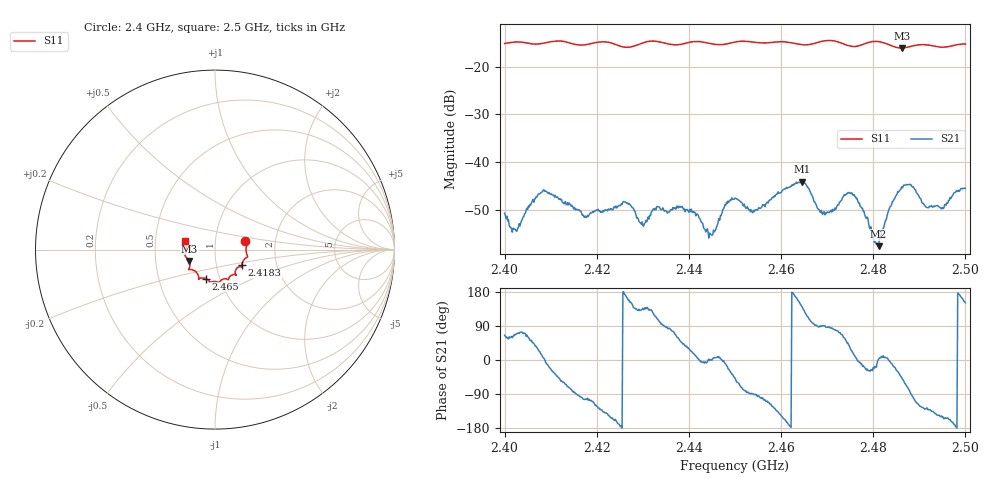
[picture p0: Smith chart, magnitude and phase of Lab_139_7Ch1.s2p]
# Hz S RI R 50
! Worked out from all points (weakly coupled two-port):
!   601 points, 2.4 GHz to 2.5 GHz, reference 50 ohm
!   highest |S21| = -44.06 dB at 2.4645 GHz (marker M1); lowest = -57.6 dB at 2.4812 GHz (marker M2)
!   lowest |S11| = -16.1 dB at 2.4862 GHz (marker M3), VSWR 1.37, Z = 37.2 - j4.83 ohm
!   |S11| at or under -10 dB: start of sweep to end of sweep
!   S12 and S22 are empty: the file has one direction only
!   S11 on the Smith chart (normalised r, x): 2.4 GHz: 1.40, +0.14; 2.4183 GHz: 1.33, -0.24; 2.465 GHz: 0.86, -0.28; 2.5 GHz: 0.71, +0.07
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2.4e9  0.1688 0.047  0.00122 0.00265  0 0  0 0
2.4025e9  0.1789 0.0354  0.000713 0.00176  0 0  0 0
2.408667e9  0.176 -0.0234  0.00496 0.000195  0 0  0 0
2.416667e9  0.1546 -0.0681  -0.000426 -0.00293  0 0  0 0
2.418333e9  0.1501 -0.0866  -0.000658 -0.00271  0 0  0 0
2.426167e9  0.1242 -0.1013  -0.00378 0.000522  0 0  0 0
2.43e9  0.1138 -0.1369  -0.00156 0.00149  0 0  0 0
2.433333e9  0.1174 -0.1409  -0.000941 0.00328  0 0  0 0
2.440667e9  0.0753 -0.1661  0.00278 0.0011  0 0  0 0
2.444667e9  0.0642 -0.1628  0.00175 3.01e-05  0 0  0 0
2.45e9  0.0258 -0.1799  0.00282 -0.00311  0 0  0 0
2.454333e9  0.0125 -0.1801  -0.000106 -0.00315  0 0  0 0
2.4645e9  -0.0473 -0.1637  -0.0049 0.00391  0 0  0 0
2.465e9  -0.0525 -0.1615  -0.00395 0.00456  0 0  0 0
2.466667e9  -0.0711 -0.1576  -0.000723 0.00447  0 0  0 0
2.469333e9  -0.09 -0.1637  -2.74e-05 0.00302  0 0  0 0
2.475333e9  -0.1037 -0.1266  0.00436 0.00197  0 0  0 0
2.481167e9  -0.1473 -0.1098  0.00131 6.18e-05  0 0  0 0
2.483333e9  -0.141 -0.0967  0.00309 -3.07e-05  0 0  0 0
2.486167e9  -0.1438 -0.0634  0.00378 -0.004  0 0  0 0
2.494833e9  -0.1603 0.00111  -0.00273 -0.00172  0 0  0 0
2.5e9  -0.1666 0.047  -0.00464 0.00258  0 0  0 0
